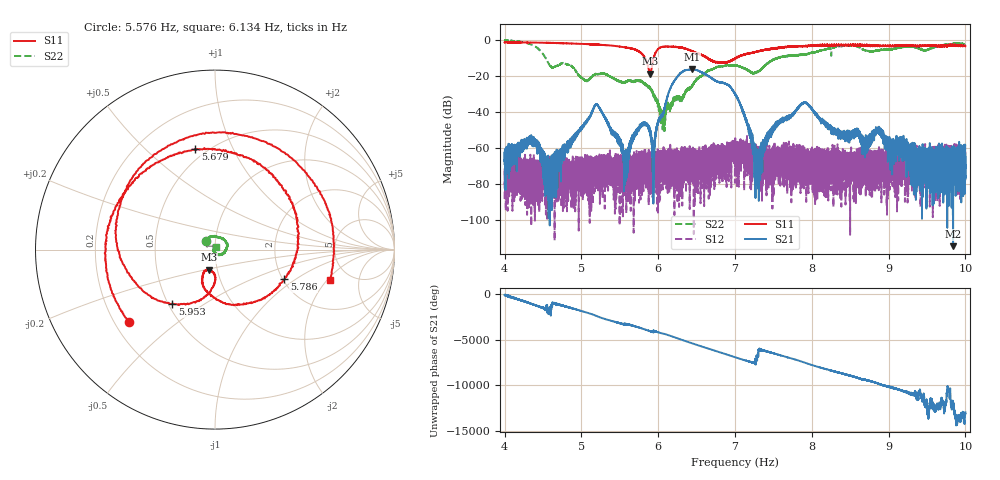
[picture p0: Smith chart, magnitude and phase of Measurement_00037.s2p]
!Created with skrf (http://scikit-rf.org).
# Hz S RI R 50.0
!freq ReS11 ImS11 ReS21 ImS21 ReS12 ImS12 ReS22 ImS22
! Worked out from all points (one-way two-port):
!   14001 points, 4 Hz to 10 Hz, reference 50 ohm
!   highest |S21| = -16.20 dB at 6.44 Hz (marker M1); lowest = -114.4 dB at 9.84 Hz (marker M2)
!   lowest |S11| = -18.6 dB at 5.895 Hz (marker M3), VSWR 1.27, Z = 45.7 - j10.4 ohm
!   |S11| at or under -10 dB: 5.829 Hz to 5.941 Hz (111.7 mHz wide, 1.9 % of centre); 6.648 Hz to 7.004 Hz (355.9 mHz wide, 5.21 % of centre); 7.004725 Hz to 7.008083 Hz (3.358 mHz wide, 0.0479 % of centre) (the widest 3 of 8)
!   |S22| runs from -51.2 to -0.2 dB; largest |S21 - S12| = 0.15
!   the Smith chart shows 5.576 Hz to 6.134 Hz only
!   S11 on the Smith chart (normalised r, x): 5.576 Hz: 0.26, -0.34; 5.679 Hz: 0.44, +0.73; 5.786 Hz: 2.04, -0.82; 5.953 Hz: 0.53, -0.37; 6.134 Hz: 3.56, -2.15
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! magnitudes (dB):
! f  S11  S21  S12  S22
! 4 Hz  -1.2  -67.2  -88.1  -0.2
! 4.352 Hz  -1.3  -54.5  -73.6  -2.6
! 4.584 Hz  -1.5  -73.4  -97.9  -13.7
! 5 Hz  -2.1  -49.0  -71.9  -20.7
! 5.209 Hz  -2.5  -36.1  -66.7  -18.9
! 5.576 Hz  -4.1  -78.4  -75.4  -23.3
! 5.679 Hz  -4.9  -52.9  -73.6  -22.9
! 5.786 Hz  -7.5  -47.3  -75.6  -22.9
! 5.895 Hz  -18.6  -49.7  -80.7  -26.5
! 5.953 Hz  -8.3  -57.5  -61.7  -31.4
! 6 Hz  -4.9  -45.6  -77.5  -35.1
! 6.063 Hz  -3.7  -40.8  -66.7  -42.6
! 6.134 Hz  -3.6  -29.4  -66.4  -35.9
! 6.44 Hz  -6.0  -16.2  -66.3  -25.3
! 7 Hz  -10.2  -29.7  -63.1  -14.1
! 7.288 Hz  -6.3  -71.9  -70.2  -17.6
! 7.553 Hz  -4.5  -47.5  -68.4  -10.0
! 8 Hz  -3.2  -37.9  -70.4  -6.9
! 8.281 Hz  -2.9  -52.4  -92.7  -4.1
! 9 Hz  -3.3  -59.7  -63.3  -5.0
! 9.84 Hz  -2.8  -114.4  -72.9  -2.0
! 10 Hz  -3.3  -75.5  -68.6  -3.1
